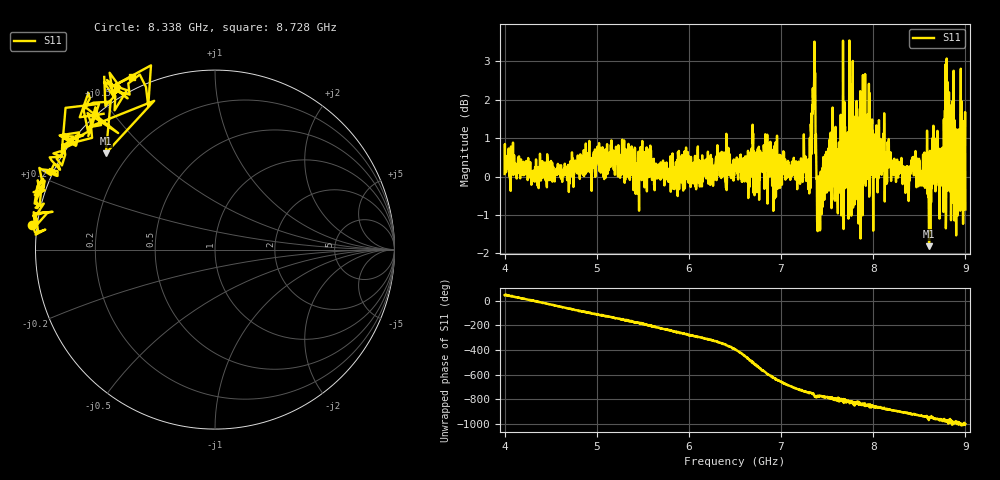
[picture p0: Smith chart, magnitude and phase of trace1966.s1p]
! Created with skrf 1.8.0 (http://scikit-rf.org).
# Hz S RI R 50.0
!freq ReS11 ImS11
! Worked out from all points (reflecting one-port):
!   1601 points, 4 GHz to 9 GHz, reference 50 ohm
!   lowest |S11| = -1.8 dB at 8.606 GHz (marker M1), VSWR 9.61, Z = 5.94 + j18.7 ohm
!   phase of S11 starts at 47 deg and turns -1046 deg over the sweep
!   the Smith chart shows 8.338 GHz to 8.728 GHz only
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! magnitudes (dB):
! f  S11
! 4 GHz  0.1
! 4.625 GHz  -0.1
! 5.25 GHz  0.1
! 5.875 GHz  0.4
! 6.5 GHz  0.2
! 7.125 GHz  0.3
! 7.294 GHz  -0.3
! 7.347 GHz  2.1
! 7.366 GHz  2.1
! 7.4 GHz  -0.7
! 7.416 GHz  -1.0
! 7.512 GHz  0.4
! 7.619 GHz  0.7
! 7.684 GHz  0.1
! 7.75 GHz  -0.5
! 7.784 GHz  -0.7
! 7.822 GHz  0.5
! 7.962 GHz  2.2
! 7.981 GHz  0.0
! 8.375 GHz  0.0
! 8.434 GHz  0.2
! 8.606 GHz  -1.8
! 8.662 GHz  0.1
! 8.738 GHz  0.4
! 8.816 GHz  -0.2
! 8.875 GHz  1.0
! 8.972 GHz  0.5
! 9 GHz  -0.9
